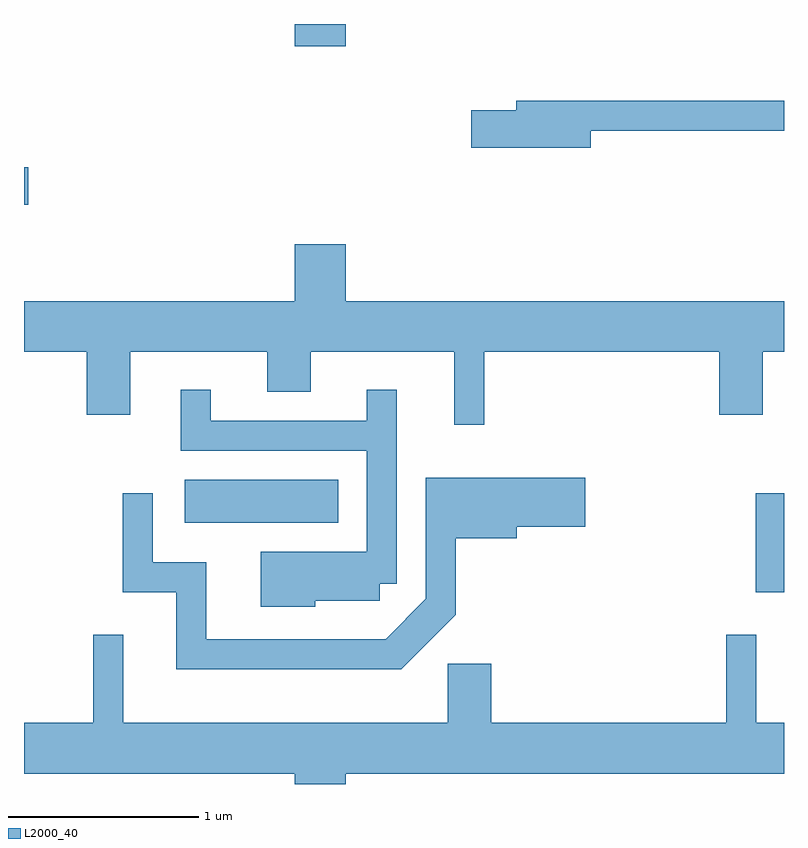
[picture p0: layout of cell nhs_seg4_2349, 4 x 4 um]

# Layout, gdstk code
import gdstk
lib = gdstk.Library(unit=1e-6, precision=1e-09)
def R(c, l, rs):  # rectangles x0, y0, x1, y1
    for r in rs: c.add(gdstk.rectangle(r[:2], r[2:], *l))
def P(c, l, *ps):  # polygons
    for p in ps: c.add(gdstk.Polygon(p, *l))
L2000_40 = (2000, 40)

nhs_seg4_2349 = lib.new_cell('nhs_seg4_2349')
R(nhs_seg4_2349, L2000_40, [(257.461,1328.991,257.611,1329.513), (254.456,1329.356,255.264,1329.584), (253.611,1331.031,253.634,1331.229), (255.036,1331.866,255.304,1331.982)])
P(nhs_seg4_2349, L2000_40, [(256.594,1331.421),(257.611,1331.421),(257.611,1331.579),(256.201,1331.579),(256.201,1331.529),(255.966,1331.529),(255.966,1331.331),(256.594,1331.331)],
  [(256.034,1330.256),(257.271,1330.256),(257.271,1329.926),(257.499,1329.926),(257.499,1330.256),(257.611,1330.256),(257.611,1330.524),(255.304,1330.524),(255.304,1330.824),(255.036,1330.824),(255.036,1330.524),(253.611,1330.524),(253.611,1330.256),(253.941,1330.256),(253.941,1329.926),(254.169,1329.926),(254.169,1330.256),(254.891,1330.256),(254.891,1330.046),(255.119,1330.046),(255.119,1330.256),(255.876,1330.256),(255.876,1329.873),(256.034,1329.873)],
  [(255.144,1328.946),(255.484,1328.946),(255.484,1329.036),(255.574,1329.036),(255.574,1330.058),(255.416,1330.058),(255.416,1329.894),(254.594,1329.894),(254.594,1330.058),(254.436,1330.058),(254.436,1329.736),(255.416,1329.736),(255.416,1329.204),(254.856,1329.204),(254.856,1328.916),(255.144,1328.916)],
  [(255.884,1328.874),(255.884,1329.276),(256.204,1329.276),(256.204,1329.336),(256.564,1329.336),(256.564,1329.594),(255.726,1329.594),(255.726,1328.957),(255.514,1328.744),(254.569,1328.744),(254.569,1329.149),(254.289,1329.149),(254.289,1329.513),(254.131,1329.513),(254.131,1328.991),(254.411,1328.991),(254.411,1328.586),(255.597,1328.586)],
  [(254.134,1328.768),(253.976,1328.768),(253.976,1328.304),(253.611,1328.304),(253.611,1328.036),(255.036,1328.036),(255.036,1327.982),(255.304,1327.982),(255.304,1328.036),(257.611,1328.036),(257.611,1328.304),(257.464,1328.304),(257.464,1328.768),(257.306,1328.768),(257.306,1328.304),(256.069,1328.304),(256.069,1328.614),(255.841,1328.614),(255.841,1328.304),(254.134,1328.304)])

lib.write_gds('nhs_seg4_2349.gds')
